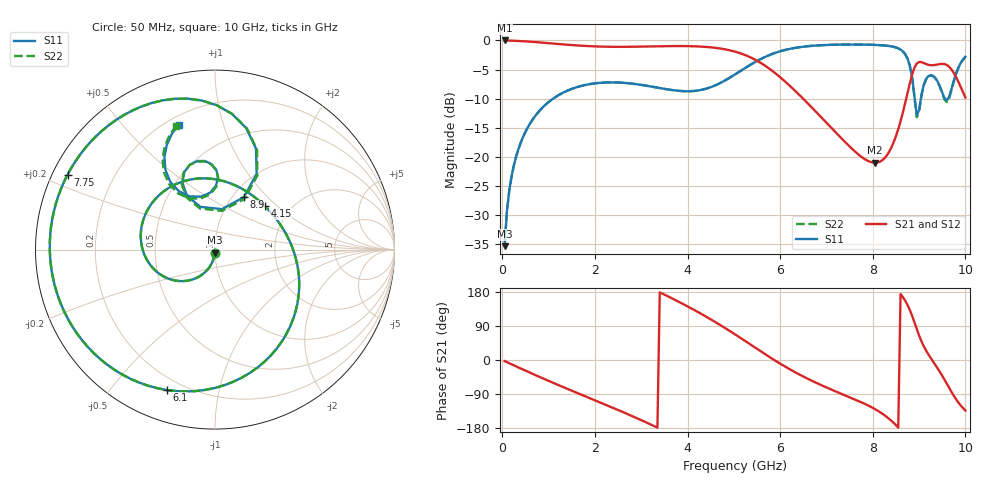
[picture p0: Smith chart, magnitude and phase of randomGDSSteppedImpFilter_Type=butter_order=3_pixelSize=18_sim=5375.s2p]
! freq	dB(S11)	phase(S11)	dB(S12)	phase(S12)
!  dB(S21)	phase(S21)	dB(S22)	phase(S22)
!S-par simulation data
#  GHz  S  DB  R 50
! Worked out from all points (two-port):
!   200 points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, 50 MHz to 10 GHz, reference 50 ohm
!   highest |S21| = 0.00 dB at 50 MHz (marker M1); lowest = -21.0 dB at 8.05 GHz (marker M2)
!   |S21| within 3 dB of the highest: start of sweep to 5.385 GHz
!   lowest |S11| = -35.3 dB at 50 MHz (marker M3), VSWR 1.03, Z = 49.9 - j1.71 ohm
!   |S11| at or under -10 dB: start of sweep to 1.096 GHz; 8.907 GHz to 9.039 GHz (131.5 MHz wide, 1.47 % of centre); 9.559 GHz to 9.624 GHz (65.38 MHz wide, 0.682 % of centre)
!   |S22| runs from -35.3 to -0.7 dB; largest |S21 - S12| = 0
!   S11 on the Smith chart (normalised r, x): 50 MHz: 1.00, -0.03; 4.15 GHz: 1.48, +0.84; 6.1 GHz: 0.14, -0.70; 7.75 GHz: 0.04, +0.24; 8.9 GHz: 1.13, +0.74; 10 GHz: 0.25, +0.72
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0.05  -35.33 -92.7  -0.00 -2.9  -0.00 -2.9  -35.33 -92.8
0.2  -23.35 -101.6  -0.04 -11.4  -0.04 -11.4  -23.35 -101.6
0.5  -15.70 -118.6  -0.16 -28.1  -0.16 -28.1  -15.70 -118.6
1.75  -7.72 175.8  -0.93 -93.6  -0.93 -93.6  -7.72 175.8
2.55  -7.24 135.1  -1.10 -134.5  -1.10 -134.5  -7.25 134.9
3.4  -8.18 88.4  -0.99 178.6  -0.99 178.6  -8.18 88.2
4.15  -8.67 41.4  -1.01 131.6  -1.01 131.6  -8.67 41.1
4.6  -7.71 9.6  -1.27 100.1  -1.27 100.1  -7.71 9.4
5.05  -5.71 -25.2  -1.98 65.8  -1.98 65.8  -5.71 -25.3
5.55  -3.32 -66.1  -3.71 25.3  -3.71 25.3  -3.32 -66.1
6.1  -1.65 -108.9  -7.01 -16.9  -7.01 -16.9  -1.65 -108.9
6.7  -0.92 -148.8  -11.65 -55.7  -11.65 -55.7  -0.92 -148.7
7.75  -0.71 153.1  -19.96 -111.4  -19.96 -111.4  -0.71 153.1
8.05  -0.77 136.3  -21.00 -129.7  -21.00 -129.7  -0.77 136.3
8.35  -0.95 117.1  -19.16 -154.9  -19.16 -154.9  -0.96 117.0
8.65  -1.88 89.5  -12.38 165.9  -12.38 165.9  -1.89 89.2
8.9  -9.53 61.1  -4.67 99.4  -4.67 99.4  -9.72 59.9
8.95  -12.81 80.3  -3.96 81.6  -3.96 81.6  -13.19 79.9
9.1  -7.66 116.0  -3.89 36.6  -3.89 36.6  -7.72 116.9
9.3  -6.08 96.5  -4.26 -3.7  -4.26 -3.7  -6.12 96.6
9.65  -9.67 115.5  -4.52 -73.6  -4.52 -73.6  -9.93 116.6
10  -2.79 106.2  -9.81 -133.3  -9.81 -133.3  -2.83 107.4
